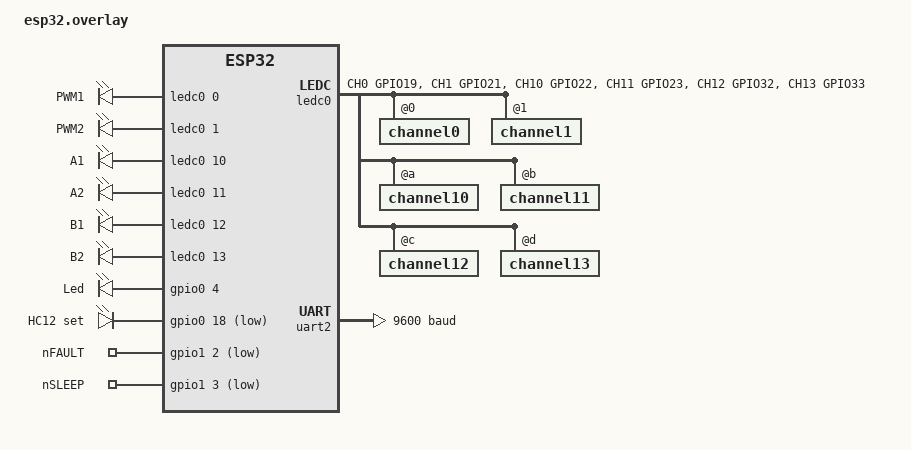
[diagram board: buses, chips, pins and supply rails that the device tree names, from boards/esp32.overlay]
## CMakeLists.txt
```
cmake_path(GET CMAKE_SOURCE_DIR PARENT_PATH PARENT_DIR)
list(APPEND ZEPHYR_EXTRA_MODULES ${PARENT_DIR}/command_lib)

cmake_minimum_required(VERSION 3.20.0)
find_package(Zephyr REQUIRED HINTS $ENV{ZEPHYR_BASE})
project(robot-brain)

FILE(GLOB app_sources src/*.c*)
target_sources(app PRIVATE ${app_sources})
```

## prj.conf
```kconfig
# pins
CONFIG_GPIO=y
CONFIG_PWM=y

# Set up logging
CONFIG_LOG=y
CONFIG_LOG_DEFAULT_LEVEL=3

# uart settings
CONFIG_SERIAL=y
CONFIG_UART_INTERRUPT_DRIVEN=y
CONFIG_UART_LINE_CTRL=y

# events
CONFIG_EVENTS=y

# bluetooth
CONFIG_BT=y
CONFIG_BT_SMP=y
CONFIG_BT_SIGNING=y
CONFIG_BT_PERIPHERAL=y
CONFIG_BT_DIS=y
CONFIG_BT_ATT_PREPARE_COUNT=5
CONFIG_BT_PRIVACY=y
CONFIG_BT_DEVICE_NAME="rupert"

# custom drivers
CONFIG_COMMAND_LIB=y
CONFIG_COMMAND_GATT=y
CONFIG_COMMAND_UART=y
```

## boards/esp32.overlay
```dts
#include <zephyr/dt-bindings/pwm/pwm.h>
#include <dt-bindings/pinctrl/esp32-pinctrl.h>

/ {
	aliases {
		led0 = &led0;
		a1 = &pwm_a1;
		a2 = &pwm_a2;
		b1 = &pwm_b1;
		b2 = &pwm_b2;
		weapon = &pwm2;
		hc12 = &uart2;
		hc12-set = &hc12_set;
		nfault = &nfault;
		nsleep = &nsleep;
	};

	pwm_pins {
		compatible = "pwm-leds";
		pwm1: pwm1_gpio19 {
			label = "PWM1";
			pwms = <&ledc0 0 0 PWM_POLARITY_NORMAL>;
		};
		pwm2: pwm2_gpio21 {
			label = "PWM2";
			pwms = <&ledc0 1 0 PWM_POLARITY_NORMAL>;
		};
		pwm_a1: pwm_a1_gpio22 {
			label = "A1";
			pwms = <&ledc0 10 0 PWM_POLARITY_NORMAL>;
		};
		pwm_a2: pwm_a2_gpio23 {
			label = "A2";
			pwms = <&ledc0 11 0 PWM_POLARITY_NORMAL>;
		};
		pwm_b1: pwm_b1_gpio32 {
			label = "B1";
			pwms = <&ledc0 12 0 PWM_POLARITY_NORMAL>;
		};
		pwm_b2: pwm_b2_gpio33 {
			label = "B2";
			pwms = <&ledc0 13 0 PWM_POLARITY_NORMAL>;
		};
	};

	output_pins {
		compatible = "gpio-leds";
		led0: led0 {
			label = "Led";
			gpios = <&gpio0 4 GPIO_ACTIVE_HIGH>;
		};
		hc12_set: hc12_set {
			label = "HC12 set";
			gpios = <&gpio0 18 GPIO_ACTIVE_LOW>;
		};
	};

	input_pins {
		compatible = "gpio-keys";
		nfault: nfault {
			label = "nFAULT";
        	gpios = <&gpio1 2 GPIO_ACTIVE_LOW>;
        };
		nsleep: nsleep {
			label = "nSLEEP";
        	gpios = <&gpio1 3 GPIO_ACTIVE_LOW>;
        };
	};
};

&pinctrl {
	ledc0_custom: ledc0_custom {
		group1 {
			pinmux = <LEDC_CH0_GPIO19>,  <LEDC_CH1_GPIO21>, // PWM pins
					 <LEDC_CH10_GPIO22>, <LEDC_CH11_GPIO23>, // Motor A
					 <LEDC_CH12_GPIO32>, <LEDC_CH13_GPIO33>; // Motor B
			output-enable;
		};
	};
};

&ledc0 {
	pinctrl-0 = <&ledc0_custom>;
	pinctrl-names = "default";
	status = "okay";
	#address-cells = <1>;
	#size-cells = <0>;
	channel0@0 {
		reg = <0x0>;
		timer = <0>;
	};
	channel1@1 {
		reg = <0x1>;
		timer = <0>;
	};
	channel10@a {
		reg = <0xa>;
		timer = <0>;
	};
	channel11@b {
		reg = <0xb>;
		timer = <0>;
	};
	channel12@c {
		reg = <0xc>;
		timer = <0>;
	};
	channel13@d {
		reg = <0xd>;
		timer = <0>;
	};
};

&uart1 {
	status = "disabled";
};

&uart2 {
	status = "okay";
	current-speed = <9600>;
	pinctrl-0 = <&uart2_default>;
	pinctrl-names = "default";
};

&gpio0 {
	status = "okay";
};

&gpio1 {
	status = "okay";
};

&spi2 {
	status = "disabled";
};

&spi3 {
	status = "disabled";
};

&i2c0 {
	status = "disabled";
};
```

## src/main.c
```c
#include <zephyr/device.h>
#include <zephyr/drivers/gpio.h>
#include <zephyr/drivers/pwm.h>
#include <zephyr/drivers/spi.h>
#include <zephyr/logging/log.h>
#include <zephyr/drivers/sensor.h>

#include "gatt_command.h"
#include "uart_command.h"
#include "motor.h"

// Register logger
LOG_MODULE_REGISTER(brain);

// GPIO structs
const struct gpio_dt_spec led0 = GPIO_DT_SPEC_GET(DT_ALIAS(led0), gpios);
const struct gpio_dt_spec nsleep = GPIO_DT_SPEC_GET(DT_ALIAS(nsleep), gpios);
struct gpio_callback sleep_callback;

// Serial interface (HC12)
struct serial_interface hc12_iface;
struct command_writer hc12_writer;
const struct gpio_dt_spec hc12_set = GPIO_DT_SPEC_GET(DT_ALIAS(hc12_set), gpios);
const struct device *hc12_device = DEVICE_DT_GET(DT_ALIAS(hc12));

struct motor_control motor_a = {
    .en1 = PWM_DT_SPEC_GET(DT_ALIAS(a1)),
    .en2 = PWM_DT_SPEC_GET(DT_ALIAS(a2)),
};

struct motor_control motor_b = {
    .en1 = PWM_DT_SPEC_GET(DT_ALIAS(b1)),
    .en2 = PWM_DT_SPEC_GET(DT_ALIAS(b2)),
};

struct motor_control weapon = {
    .en1 = PWM_DT_SPEC_GET(DT_ALIAS(weapon)),
};

const struct device *const icm20948 = DEVICE_DT_GET_ONE(invensense_icm20948);

// Create workthread
#define WORKTHREAD_SIZE 512
#define WORKTHREAD_PRIO 5
K_THREAD_STACK_DEFINE(workthread_area, WORKTHREAD_SIZE);
struct k_work_q work_q;

/**
 * @brief Blink led0
 */
void blink() {
    gpio_pin_set_dt(&led0, 1);
    k_msleep(50);
    gpio_pin_set_dt(&led0, 0);
}

// Define blink worker
K_WORK_DEFINE(blink_worker, blink);

/**
 * @brief Blink led0 in workthread
 */
static inline void blink_wt() { k_work_submit(&blink_worker); }

/**
 * @brief Thread function that reads new messages and acts upon them
 *   This function is supposed to be used in a thread
 */
static void message_handler(void *p1, void *p2, void *p3) {
    ARG_UNUSED(p1); ARG_UNUSED(p2); ARG_UNUSED(p3);
    // Receive incoming commands
    struct command_data command;
    while (true) {
        if (get_command(&command) != 0) {
            // Did not receive command before timeout, turn motors and weapon off
            motor_off(&motor_a);
            motor_off(&motor_b);
            weapon_off(&weapon);
            LOG_WRN("Command timed out, turn motor and weapon off");
            continue;
        }
        LOG_INF(
            "New command %d (id %d) with value %d", 
            command.key, command.id, command.value
        );
        blink_wt();
        switch (command.key) {
        case error_command: // an error ocurred!
            // acknowledge command, even though an error occurred
            set_ack(command.id);
            LOG_WRN(
                "Warning: received error command (error %d)", 
                command.value
            );
            break;

        case ack_command: // set ack event when receiving ack
            set_ack(command.id);
            break;

        case ping_command: // ack ping command
            send_ack(command, 0);
            break;

        case left_motor_command:
            set_speed(&motor_a, command.value);
            send_ack(command, 0);
            break;

        case right_motor_command:
            set_speed(&motor_b, command.value);
            send_ack(command, 0);
            break;

        case weapon_motor_command:
            set_speed(&weapon, command.value);
            send_ack(command, 0);
            break;

        default: // unrecognized command, send error
            send_error(command, error_unrecognized);
            LOG_WRN("Warning: Unrecognized command");
            break;
        }
    }
}

// Define thread for handling incoming messages
#define MSGTHREAD_SIZE 1408
#define MSGTHREAD_PRI 4
K_THREAD_DEFINE(msg_handler_tid, MSGTHREAD_SIZE,
                message_handler, NULL, NULL, NULL,
                MSGTHREAD_PRI, 0, 0);

static void sleep_worker_func() {
    static int sleep_mode = 0;
    // 50ms debounce protection!
    k_msleep(50);
    // Read nsleep pin to see if device should sleep or wake up
    int state = gpio_pin_get_dt(&nsleep);
    if (state < 0) {
        LOG_ERR(
            "Error %d: failed to read %s pin %d", 
            state, nsleep.port->name, nsleep.pin
        );
    }
    // Return if sleep mode is equal to state
    if (sleep_mode == state) {
        return;
    }
    // Save state so it does not duplicate
    sleep_mode = state;
    if (sleep_mode) {
        // Stop communication
        k_thread_suspend(msg_handler_tid);
        serial_disable(&hc12_iface);
        // Turn off motors and weapon
        motor_off(&motor_a);
        motor_off(&motor_b);
        weapon_off(&weapon);
        LOG_INF("Sleep mode on");
    }
    else {
        serial_enable(&hc12_iface);
        k_thread_resume(msg_handler_tid);
        LOG_INF("Sleep mode off");
    }
    blink();
}

// Define sleep worker
// (sleep and wake device in workthread, not interrupt)
K_WORK_DEFINE(sleep_worker, sleep_worker_func);

/**
 * @brief Callback for sleep-pin interrupt on sleep
 */
static void sleep_handler(const struct device *port, struct gpio_callback *cb, uint32_t pins)
{
    ARG_UNUSED(port); ARG_UNUSED(cb); ARG_UNUSED(pins);
    k_work_submit(&sleep_worker);
}

void main(void) {
    // Save error codes during initialization
    int err;

    // Init and start workqueue
    k_work_queue_init(&work_q);
    k_work_queue_start(&work_q, workthread_area, WORKTHREAD_SIZE,
                       WORKTHREAD_PRIO, NULL);

    // Init motor control
    motor_init(&motor_a, &motor_b, &weapon);

    // Initialize serial interface (HC12)
    serial_init(&hc12_iface, &hc12_writer, hc12_device, &hc12_set);

    // Start bluetooth service
    peripheral_enable();

    // Configure nsleep pin and add sleep callback to it
    err = gpio_pin_configure_dt(&nsleep, GPIO_INPUT);
    if (err) {
        LOG_ERR(
            "Error %d: failed to configure %s pin %d", 
            err, nsleep.port->name, nsleep.pin
        );
    } else {
        // Check for sleep mode at initialization
        k_work_submit(&sleep_worker);
    }
    err = gpio_pin_interrupt_configure_dt(&nsleep, GPIO_INT_EDGE_BOTH);
    if (err) {
        LOG_ERR(
            "Error %d: failed to configure interrupt on %s pin %d",
            err, nsleep.port->name, nsleep.pin
        );
    }
    gpio_init_callback(&sleep_callback, sleep_handler, BIT(nsleep.pin));
    err = gpio_add_callback(nsleep.port, &sleep_callback);
    if (err) {
        LOG_ERR(
            "Error %d: failed to add callback to %s", 
            err, nsleep.port->name
        );
    }

    // Init led0
    err = gpio_pin_configure_dt(&led0, GPIO_OUTPUT_INACTIVE);
    if (err) {
        LOG_ERR(
            "Error %d: failed to configure %s pin %d",
            err, led0.port->name, led0.pin
        );
    }

    // Init motion sensor
    err = device_is_ready(icm20948);
	if (err) {
        LOG_ERR(
            "Error %d: failed to initialize icm20948 sensor", err
        );
	}

    // Blink led when ready
    blink_wt(&led0);
    LOG_INF("Setup finished");

    // struct icm20948_sensor *acc = &sensor_data.accelerometer;
    // struct icm20948_sensor *gyro = &sensor_data.gyroscope;
    // while (1) {
    //     icm20948_read_accelerometer(acc);
    //     // LOG_INF("Accel x: %d, y: %d, z: %d", acc->x, acc->y, acc->z);
    //     icm20948_read_gyroscope(gyro);
    //     //LOG_INF("Gyro x: %d, y: %d, z: %d", gyro->x, gyro->y, gyro->z);
    //     printk("ax:%d,ay:%d,az:%d,gx:%d,gy:%d,gz:%d\n", acc->x, acc->y, acc->z, gyro->x, gyro->y, gyro->z);
    //     k_msleep(50);
    // }
}
```

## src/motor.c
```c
#include "motor.h"

// Use logger from main.c
LOG_MODULE_DECLARE(brain);

// How much the speed will chenge each interval
#define MOTOR_SPEED_STEP 10
#define WEAPON_SPEED_STEP 2

// Length of delay between each change of speed
#define MOTOR_SPEED_INTERVAL K_MSEC(40)
#define WEAPON_SPEED_INTERVAL K_MSEC(20)

// Create threads for gradually controlling motor speed
#define STACK_SIZE 512
#define THREAD_PRIORITY 5
#define NUM_THREADS 3
// Structs for motor control threads
static struct k_thread motor_threads[NUM_THREADS];
// Define stack area for motor threads
K_THREAD_STACK_ARRAY_DEFINE(stacks, NUM_THREADS, STACK_SIZE);

// Define weapon and motor pwm periods
static const uint32_t MOTOR_PERIOD = PWM_MSEC(1U);
static const uint32_t WEAPON_PERIOD = PWM_MSEC(20U);
#define WEAPON_PULSE_MIN PWM_MSEC(1U)
#define WEAPON_PULSE_MAX PWM_MSEC(2U)
static const uint32_t WEAPON_PULSE_RANGE = WEAPON_PULSE_MAX - WEAPON_PULSE_MIN;
static const uint32_t WEAPON_PULSE_MID =
    WEAPON_PULSE_MIN + WEAPON_PULSE_RANGE / 2;

void motor_init(struct motor_control *motor_a, struct motor_control *motor_b,
                struct motor_control *motor_w) {
    motor_a->speed = 127;
    motor_a->set_speed_func = &set_motor_speed;
    motor_a->speed_step = MOTOR_SPEED_STEP;
    motor_a->interval = MOTOR_SPEED_INTERVAL;
    motor_a->thread = k_thread_create(
        &motor_threads[0], stacks[0], STACK_SIZE, motor_speed_thread_callback,
        motor_a, NULL, NULL, THREAD_PRIORITY, 0, K_NO_WAIT);
    set_motor_speed(&motor_a->en1, &motor_a->en2, motor_a->speed);

    motor_b->speed = 127;
    motor_b->set_speed_func = &set_motor_speed;
    motor_b->speed_step = MOTOR_SPEED_STEP;
    motor_b->interval = MOTOR_SPEED_INTERVAL;
    motor_b->thread = k_thread_create(
        &motor_threads[1], stacks[1], STACK_SIZE, motor_speed_thread_callback,
        motor_b, NULL, NULL, THREAD_PRIORITY, 0, K_NO_WAIT);
    set_motor_speed(&motor_b->en1, &motor_b->en2, motor_b->speed);

    motor_w->speed = 127;
    motor_w->set_speed_func = &set_weapon_speed;
    motor_w->speed_step = WEAPON_SPEED_STEP;
    motor_w->interval = WEAPON_SPEED_INTERVAL;
    motor_w->thread = k_thread_create(
        &motor_threads[2], stacks[2], STACK_SIZE, motor_speed_thread_callback,
        motor_w, NULL, NULL, THREAD_PRIORITY, 0, K_NO_WAIT);
    set_weapon_speed(&motor_w->en1, NULL, motor_w->speed);
}

void motor_off(struct motor_control *motor) {
    pwm_set_dt(&motor->en1, MOTOR_PERIOD, 0);
    pwm_set_dt(&motor->en2, MOTOR_PERIOD, 0);
    motor->speed = 127;
}

void weapon_off(struct motor_control *weapon) {
    pwm_set_dt(&weapon->en1, WEAPON_PERIOD, 0);
    weapon->speed = 127;
}

void set_speed(struct motor_control *motor, uint8_t speed_u) {
    motor->speed = speed_u;
    k_thread_resume(motor->thread);
}

int32_t convert_speed(uint8_t speed_u) {
    int32_t speed = speed_u - 127;
    if (speed > 100) {
        speed = 100;
    } else if (speed < -100) {
        speed = -100;
    }
    return speed;
}

int set_motor_speed(const struct pwm_dt_spec *en1,
                    const struct pwm_dt_spec *en2, uint8_t speed_u) {
    int32_t speed = convert_speed(speed_u);
    uint32_t pulse;
    int err1, err2;
    if (speed == 0) {
        err1 = pwm_set_dt(en1, MOTOR_PERIOD, 0);
        err2 = pwm_set_dt(en2, MOTOR_PERIOD, 0);
    } else if (speed > 0) {
        pulse = speed * ((MOTOR_PERIOD-1) / 100);
        if (pulse > MOTOR_PERIOD) {
            pulse = MOTOR_PERIOD;
        }
        err1 = pwm_set_dt(en1, MOTOR_PERIOD, pulse);
        err2 = pwm_set_dt(en2, MOTOR_PERIOD, 0);
    } else {
        speed = -1 * speed;
        pulse = speed * ((MOTOR_PERIOD-1) / 100);
        if (pulse > MOTOR_PERIOD) {
            pulse = MOTOR_PERIOD;
        }
        err1 = pwm_set_dt(en1, MOTOR_PERIOD, 0);
        err2 = pwm_set_dt(en2, MOTOR_PERIOD, pulse);
    }
    return err1 | err2;
}

int set_weapon_speed(const struct pwm_dt_spec *weapon_pin,
                     const struct pwm_dt_spec *unused, uint8_t speed_u) {
    ARG_UNUSED(unused);
    int32_t speed = convert_speed(speed_u);
    uint32_t pulse_offset = speed * (WEAPON_PULSE_RANGE / 100);
    uint32_t pulse = WEAPON_PULSE_MID + pulse_offset;
    if (pulse > WEAPON_PERIOD) {
        pulse = WEAPON_PERIOD;
    }
    return pwm_set_dt(weapon_pin, WEAPON_PERIOD, pulse);
}

void motor_speed_thread_callback(void *p1, void *p2, void *p3) {
    // Motor control struct
    struct motor_control *motor = p1;
    // Thread id of this thread
    k_tid_t thread_id = motor->thread;
    // Speed-step of this motor
    uint8_t step = motor->speed_step;
    // Timoeut of this function
    k_timeout_t interval = motor->interval;
    // Variable to keep desired speed, current speed and the difference
    uint8_t speed_u;
    uint8_t current_speed_u = 127;
    int16_t difference;
    // Callback function for setting the speed
    int (*set_speed_func)(const struct pwm_dt_spec *,
                          const struct pwm_dt_spec *, uint8_t) =
        motor->set_speed_func;

    while (true) {
        // Suspend before run
        if (motor->speed == current_speed_u) {
            k_thread_suspend(thread_id);
        }

        // Motor speed (unsigned)
        speed_u = motor->speed;

        if (speed_u < 27) {
            speed_u = 27;
        } else if (speed_u > 227) {
            speed_u = 227;
        }
        while (speed_u != current_speed_u) {
            speed_u = motor->speed;
            difference = speed_u - current_speed_u;
            if (difference > step) {
                difference = step;
            } else if (difference < -step) {
                difference = -step;
            }
            current_speed_u += difference;
            (*set_speed_func)(&motor->en1, &motor->en2, current_speed_u);
            k_sleep(interval);
        }
    }
}
```

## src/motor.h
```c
#ifndef MOTOR_H
#define MOTOR_H

#include <zephyr/drivers/pwm.h>
#include <zephyr/kernel.h>
#include <zephyr/logging/log.h>

/** @brief Structure for motor control. */
struct motor_control {
    /* ID of thread that controls motor */
    k_tid_t thread;
    /* Desired speed of motor, represented in unsigned format */
    uint8_t speed;
    /* Callback function for setting the speed of the motor */
    int (*set_speed_func)(const struct pwm_dt_spec *,
                          const struct pwm_dt_spec *, uint8_t);
    /* First enable pin of motor */
    const struct pwm_dt_spec en1;
    /* Second enable pin of motor */
    const struct pwm_dt_spec en2;
    /* Speed step for motor */
    uint8_t speed_step;
    /* Motor speed-set interval */
    k_timeout_t interval;
};

/**
 * @brief Initialize threads and structs for motor control
 *
 * @param motor_a motor_control struct for motor a
 * @param motor_b motor_control struct for motor b
 * @param motor_w motor_control struct for weapon motor
 */
void motor_init(struct motor_control *motor_a, struct motor_control *motor_b,
                struct motor_control *motor_w);

/**
 * @brief Set 0 duty cycle to motor
 * 
 * @param motor motor_control struct of relevant motor
 */
void motor_off(struct motor_control *motor);

/**
 * @brief Set 0 duty cycle to wepon
 * 
 * @param motor motor_control struct of relevant weapon
 */
void weapon_off(struct motor_control *weapon);

/**
 * @brief Set speed of a motor
 *
 * @param motor motor_control struct that decides how motor speed will be set.
 * @param speed_u Speed of motor represented by unsigned integer.
 */
void set_speed(struct motor_control *motor, uint8_t speed_u);

/**
 * @brief Set speed of DC motor via motor driver.
 *   (This function is intended to be used as a callback function
 *    in motor_control struct)
 *
 * @param en1 Enable pin 1 for DC motor
 * @param en2 Enable pin 2 for DC motor
 * @param speed_u Speed represented in unsigned format
 * @return int Return status according to `pwm_set_dt` function.
 */
int set_motor_speed(const struct pwm_dt_spec *en1,
                    const struct pwm_dt_spec *en2, uint8_t speed_u);

/**
 * @brief Set speed of brushless weapon motor via ESC.
 *   (This function is intended to be used as a callback function
 *    in motor_control struct)
 *
 * @param en1 PWM pin
 * @param en2 Unused
 * @param speed_u Speed represented in unsigned format
 * @return int Return status according to `pwm_set_dt` function.
 */
int set_weapon_speed(const struct pwm_dt_spec *weapon_pin,
                     const struct pwm_dt_spec *unused, uint8_t speed_u);

/**
 * @brief Callback for motor control threads.
 *   This function is run in a thread for each motor to control their speed
 *   gradually.
 *
 * @param p1 motor_controller struct
 * @param p2 Unused
 * @param p3 Unused
 */
void motor_speed_thread_callback(void *p1, void *p2, void *p3);

#endif
```
